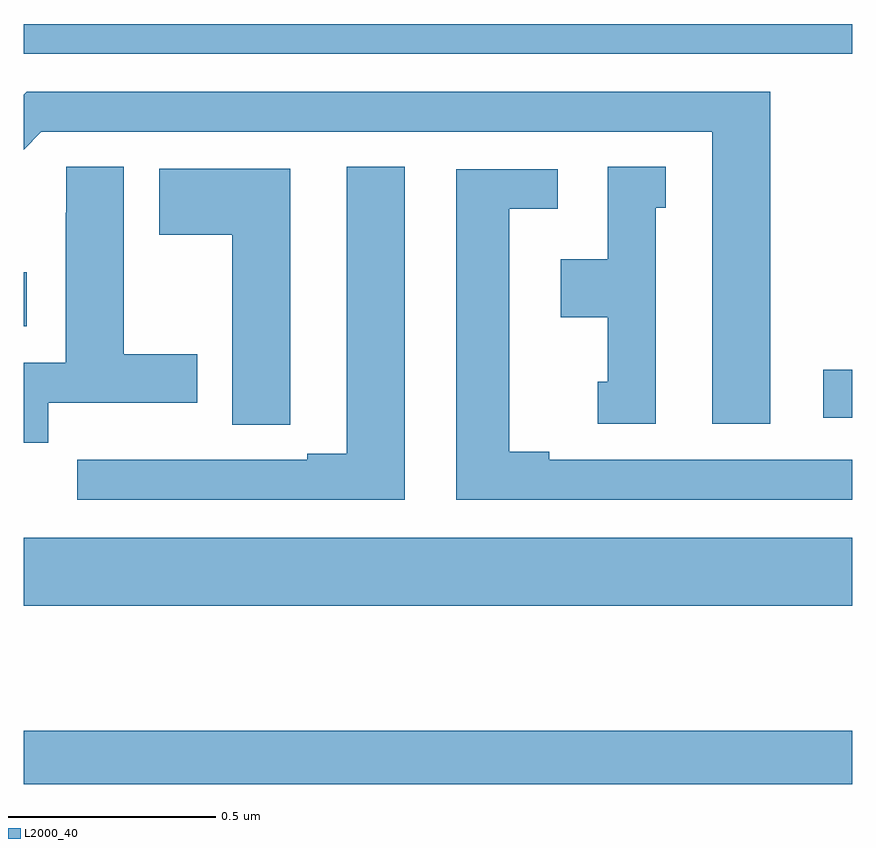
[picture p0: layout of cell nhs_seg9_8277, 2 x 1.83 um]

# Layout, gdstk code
import gdstk
lib = gdstk.Library(unit=1e-6, precision=1e-09)
def R(c, l, rs):  # rectangles x0, y0, x1, y1
    for r in rs: c.add(gdstk.rectangle(r[:2], r[2:], *l))
def P(c, l, *ps):  # polygons
    for p in ps: c.add(gdstk.Polygon(p, *l))
L2000_40 = (2000, 40)

nhs_seg9_8277 = lib.new_cell('nhs_seg9_8277')
R(nhs_seg9_8277, L2000_40, [(215,1186.666,217,1186.795), (215,1187.096,217,1187.26), (216.93,1187.55,217,1187.666), (215,1187.771,215.008,1187.901), (215,1188.428,217,1188.5)])
P(nhs_seg9_8277, L2000_40, [(216.802,1188.336),(215.007,1188.336),(215,1188.329),(215,1188.197),(215.043,1188.24),(216.662,1188.24),(216.662,1187.535),(216.802,1187.535)],
  [(216.526,1188.057),(216.55,1188.057),(216.55,1188.155),(216.41,1188.155),(216.41,1187.932),(216.296,1187.932),(216.296,1187.792),(216.41,1187.792),(216.41,1187.637),(216.386,1187.637),(216.386,1187.535),(216.526,1187.535)],
  [(215.92,1188.155),(215.78,1188.155),(215.78,1187.463),(215.684,1187.463),(215.684,1187.448),(215.408,1187.448),(215.408,1187.449),(215.242,1187.449),(215.242,1187.448),(215.13,1187.448),(215.13,1187.352),(215.92,1187.352)],
  [(215.06,1187.586),(215.419,1187.586),(215.419,1187.703),(215.242,1187.703),(215.242,1188.155),(215.103,1188.155),(215.103,1188.044),(215.102,1188.044),(215.102,1187.682),(215,1187.682),(215,1187.49),(215.06,1187.49)],
  [(215.643,1187.641),(215.644,1187.641),(215.644,1188.151),(215.327,1188.151),(215.327,1187.992),(215.504,1187.992),(215.504,1187.533),(215.643,1187.533)],
  [(217,1187.448),(216.268,1187.448),(216.268,1187.468),(216.172,1187.468),(216.172,1188.054),(216.289,1188.054),(216.289,1188.15),(216.044,1188.15),(216.044,1187.352),(217,1187.352)])

lib.write_gds('nhs_seg9_8277.gds')
